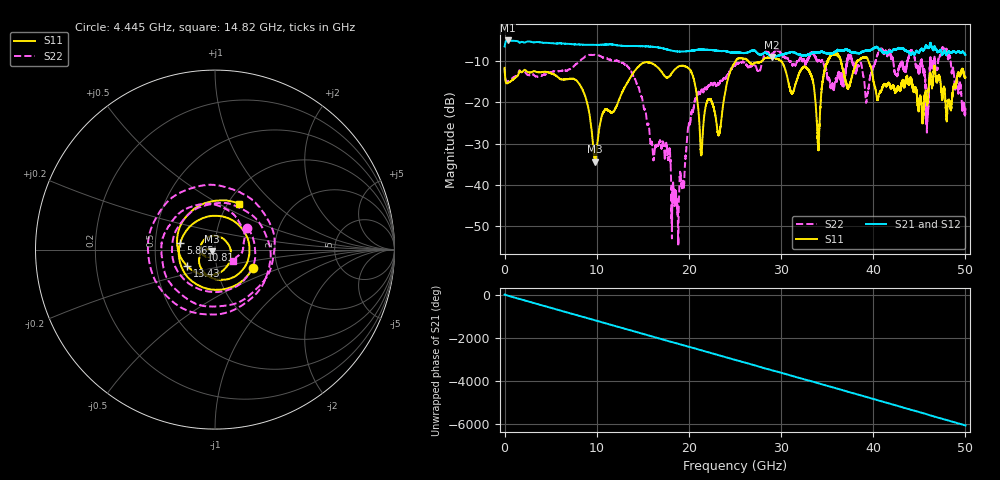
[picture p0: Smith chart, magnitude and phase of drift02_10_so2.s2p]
!Created with skrf (http://scikit-rf.org).
# Hz S RI R 50.0
!freq ReS11 ImS11 ReS21 ImS21 ReS12 ImS12 ReS22 ImS22
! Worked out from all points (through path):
!   10001 points, 300 kHz to 50 GHz, reference 50 ohm
!   highest |S21| = -5.04 dB at 320.3 MHz (marker M1); lowest = -9.0 dB at 29.01 GHz (marker M2)
!   group delay of S21, straight-line fit = 336 ps
!   lowest |S11| = -34.4 dB at 9.83 GHz (marker M3), VSWR 1.04, Z = 48.4 - j0.988 ohm
!   |S11| at or under -10 dB: start of sweep to 25.07 GHz; 29.97 GHz to 35.04 GHz (5.071 GHz wide, 15.6 % of centre); 39.47 GHz to end of sweep (the widest 3 of 13)
!   |S22| runs from -54.8 to -6.6 dB; largest |S21 - S12| = 0.022
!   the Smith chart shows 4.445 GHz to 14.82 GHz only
!   S11 on the Smith chart (normalised r, x): 4.445 GHz: 1.49, -0.32; 5.865 GHz: 0.67, +0.05; 10.81 GHz: 0.85, -0.00; 13.43 GHz: 0.72, -0.14; 14.82 GHz: 1.13, +0.63
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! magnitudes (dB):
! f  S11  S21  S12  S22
! 300 kHz  -11.7  -6.5  -6.4  -11.6
! 320.3 MHz  -15.4  -5.0  -5.0  -15.0
! 4.445 GHz  -12.6  -5.6  -5.6  -13.3
! 5.865 GHz  -14.1  -5.7  -5.7  -12.5
! 8.335 GHz  -16.4  -6.0  -6.0  -9.6
! 9.83 GHz  -34.4  -6.1  -6.1  -8.6
! 10.81 GHz  -22.1  -6.1  -6.1  -9.2
! 13.43 GHz  -14.9  -6.4  -6.4  -11.6
! 14.82 GHz  -10.8  -6.4  -6.4  -18.6
! 16.67 GHz  -11.7  -6.7  -6.7  -30.4
! 18.67 GHz  -11.7  -7.7  -7.7  -44.3
! 20.37 GHz  -13.3  -7.5  -7.5  -22.3
! 21.37 GHz  -32.6  -7.3  -7.3  -17.0
! 25 GHz  -10.3  -8.0  -8.0  -11.1
! 29.01 GHz  -9.1  -9.0  -9.0  -8.3
! 33.34 GHz  -13.9  -8.1  -8.2  -8.1
! 34.02 GHz  -31.5  -7.9  -7.9  -10.0
! 35.54 GHz  -8.4  -8.1  -8.2  -15.7
! 41.67 GHz  -15.4  -7.7  -7.8  -7.5
! 45.86 GHz  -20.8  -6.7  -6.8  -21.7
! 47.76 GHz  -17.2  -7.5  -7.5  -7.4
! 50 GHz  -14.0  -8.5  -8.4  -21.8
